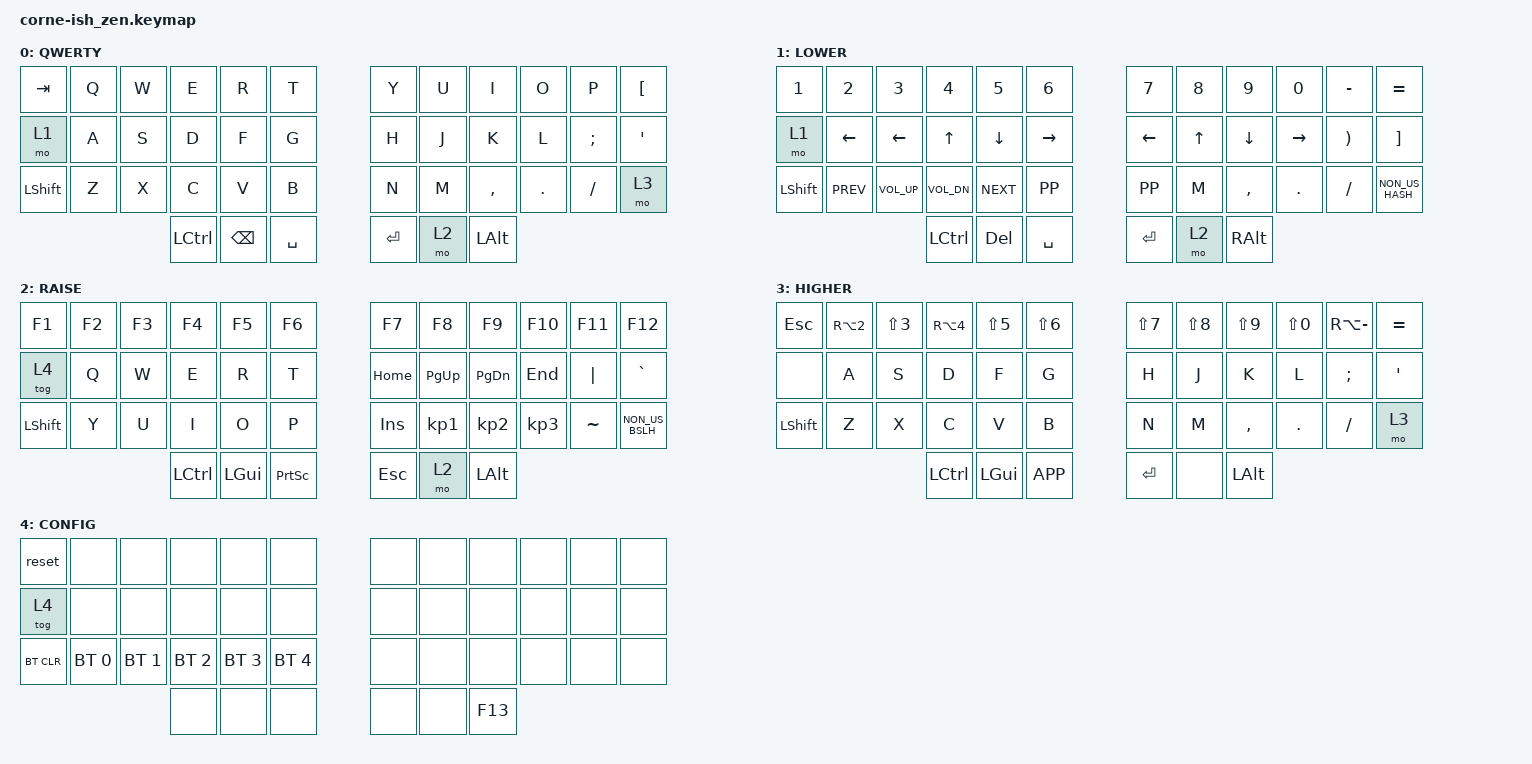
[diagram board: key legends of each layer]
/*
*
* Copyright (c) 2021 lowprokb.ca
* SPDX-License-Identifier: MIT
*
*/

#include <behaviors.dtsi>
#include <dt-bindings/zmk/keys.h>
#include <dt-bindings/zmk/bt.h>

#define QWERTY 0
#define LOWER 1
#define RAISE 2
#define HIGHER 3
#define CONFIG 4

#define NONE 0

/ {
        keymap {
                compatible = "zmk,keymap";

                default_layer {
                        label = "QWERTY";
                        bindings = <
   &kp TAB    &kp Q &kp W &kp E &kp R &kp T    &kp Y &kp U &kp I    &kp O   &kp P    &kp LBKT
   &mo 1  &kp A &kp S &kp D &kp F &kp G    &kp H &kp J &kp K    &kp L   &kp SEMI &kp QUOT
   &kp LSHFT  &kp Z &kp X &kp C &kp V &kp B    &kp N &kp M &kp CMMA &kp DOT &kp FSLH &mo 3
              	  &kp LCTL &kp BKSP &kp SPC    &kp ENTER &mo 2 &kp LALT
                        >;
                };

                lower_layer {
                        label = "LOWER";
                        bindings = <
   &kp N1   &kp N2   &kp N3   &kp N4  &kp N5 &kp N6          		 &kp N7  &kp N8  &kp N9   &kp N0   &kp MINUS   &kp EQUAL
   &mo 1  &kp LEFT &kp LEFT &kp UP &kp DOWN &kp RIGHT    		 &kp LEFT &kp UP &kp DOWN &kp RIGHT   &kp RPAR &kp RBKT
   &kp LSHFT &kp K_PREV &kp K_VOL_UP &kp K_VOL_DN &kp K_NEXT &kp K_PP    &kp K_PP &kp M &kp CMMA &kp DOT &kp FSLH &kp NON_US_HASH
              				     &kp LCTL &kp DEL &kp SPC    &kp ENTER &mo 2 &kp RALT
                        >;
                };

                raise_layer {
                        label = "RAISE";
                        bindings = < 
   &kp F1      &kp F2  &kp F3 &kp F4 &kp F5 &kp F6	   &kp F7   &kp F8   &kp F9 &kp F10   &kp F11 &kp F12
   &tog 4 &kp Q &kp W &kp E &kp R &kp T    	   &kp HOME &kp PG_UP &kp PG_DN &kp END &kp PIPE  &kp GRAVE
   &kp LSHFT   &kp Y &kp U &kp I &kp O &kp P    	   &kp INS  &kp KP_N1 &kp KP_N2 &kp KP_N3 &kp TILDE &kp NON_US_BSLH
                             &kp LCTL &kp LGUI &kp PSCRN   &kp ESC &mo 2 &kp LALT
                        >;
                };

                higher_layer {
                        label = "HIGHER";
                        bindings = <
   &kp ESC   &kp RA(N2) &kp LS(N3) &kp RA(N4) &kp LS(N5) &kp LS(N6)       &kp LS(N7)   &kp LS(N8)   &kp LS(N9) &kp LS(N0) &kp RA(MINUS) &kp EQUAL
   &none     &kp A &kp S &kp D &kp F &kp G     		    		      &kp H &kp J  &kp K    &kp L   &kp SEMI &kp QUOT
   &kp LSHFT &kp Z &kp X &kp C &kp V &kp B    		   		      &kp N &kp M &kp CMMA &kp DOT &kp FSLH &mo 3
                      			   &kp LCTL &kp LGUI &kp K_APP	      &kp ENTER &none &kp LALT
                        >;
                };

                config_layer {
                        label = "CONFIG";
                        bindings = <
   &reset       &none       &none        &none        &none        &none          &none &none &none &none &none &none 
   &tog 4  &none       &none        &none        &none        &none          &none &none &none &none &none &none
   &bt BT_CLR &bt BT_SEL 0 &bt BT_SEL 1 &bt BT_SEL 2 &bt BT_SEL 3 &bt BT_SEL 4    &none &none &none &none &none &none
                                                     	     &none &none &none	  &none &none &kp F13
                        >;
                };
        };
};
